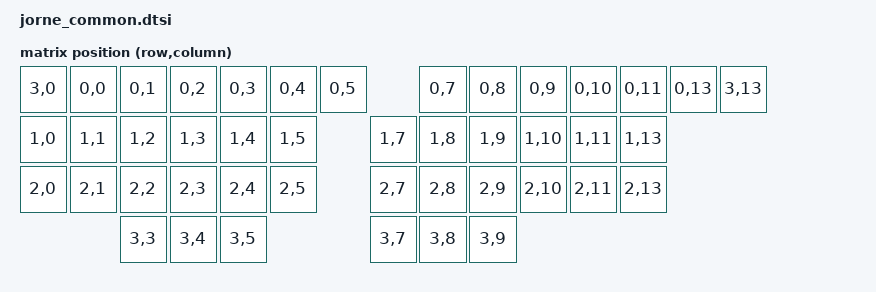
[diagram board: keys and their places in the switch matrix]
/*
 * ------------------------------------------------------------------
 * Файл:      jorne_common.dtsi
 * Версия:    5.0
 * Автор:     Evgeniy Moskovkin
 * Описание:  Общий matrix-transform и physical-layout (для ZMK Studio).
 *            v4.0 — левая половина полностью подтверждена логами.
 *            v5.0 — правая половина проверена логом: исправлены внешние
 *            клавиши '/\ и большие пальцы (см. комментарий у map ниже).
 * ------------------------------------------------------------------
 */

#include <dt-bindings/zmk/matrix_transform.h>
#include <physical_layouts.dtsi>

/ {
    default_transform: matrix_transform {
        compatible = "zmk,matrix-transform";
        columns = <14>;
        rows = <4>;

        // ------------------------------------------------------------------
        // 2026-09-03 (Evgeniy Moskovkin): transform ЛЕВОЙ половины исправлен
        // по реальному USB-логу kscan_matrix_read. ВСЕ 22 клавиши левой
        // половины подтверждены построчно:
        //   ряд 0:  `=(0,0) Q=(0,1) W=(0,2) E=(0,3) R=(0,4) T=(0,5)
        //   ряд 1:  Ctrl=(1,0) A=(1,1) S=(1,2) D=(1,3) F=(1,4) G=(1,5)
        //   ряд 2:  Alt=(2,0) Z=(2,1) X=(2,2) C=(2,3) V=(2,4) B=(2,5)
        //   ряд 3:  Win=(3,0)      Tab=(3,3) Space=(3,4) Enter=(3,5)
        //
        // Итого от ОРИГИНАЛА (v2.0) реально изменились только две вещи:
        //   1. Win:            RC(0,6)              -> RC(3,0)
        //   2. Левые пальцы:   RC(3,0)/(3,1)/(3,2)  -> RC(3,3)/(3,4)/(3,5)
        // Ряды 1 и 2 в оригинале были ВЕРНЫ (внешняя колонка Ctrl/Alt в
        // начале своего ряда, буквы за ней по столбцам 1..5) — промежуточная
        // версия v3.0 их зря ломала, здесь они возвращены.
        //
        // 2026-09-03 — правая половина ПОЛНОСТЬЮ проверена логами. Реальная
        // электрическая карта (локальные row,col; главный блок использует
        // столбцы 0-4 и 6, столбец 5 НЕ используется):
        //   ряд 0:  Y=(0,0) U=(0,1) I=(0,2) O=(0,3) P=(0,4)  [=(0,6)
        //   ряд 1:  H=(1,0) J=(1,1) K=(1,2) L=(1,3) ;=(1,4)  '=(1,6)
        //   ряд 2:  N=(2,0) M=(2,1) ,=(2,2) .=(2,3) /=(2,4)  \=(2,6)
        //   пальцы: Esc=(3,0) Bspc=(3,1) Del=(3,2)
        //   Win:    отдельная клавиша RWIN/]/F12/Reset = (3,6) — зеркальная
        //           пара левой Win в (3,0). Именно её пользователь обвёл на
        //           фото красным овалом.
        // Правки правой части карты (с учётом col-offset=7):
        //   - [ (поз.12) сидит в лок. столбце 6 -> RC(0,12)->RC(0,13);
        //   - Win (поз.13) сидит в (3,6) -> RC(0,13)->RC(3,13);
        //   - ' (поз.25) и \ (поз.37) в столбце 6 -> RC(1,12)->RC(1,13),
        //     RC(2,12)->RC(2,13);
        //   - большие пальцы остаются RC(3,7)/(3,8)/(3,9) (лок. 0,1,2).
        // Итог: раскладка остаётся 44-клавишной, лишних позиций не добавляли.
        // Пин строки пальцев исправлен в jorne_right.overlay (D8 -> D7).
        // Столбец 5 правой половины (P0.10, NFC) по факту НЕ используется —
        // опция CONFIG_NFCT_PINS_AS_GPIOS в jorne_right.conf теперь не нужна,
        // но оставлена как безвредная страховка.
        // ------------------------------------------------------------------
        map = <
        RC(3,0) RC(0,0) RC(0,1) RC(0,2) RC(0,3) RC(0,4) RC(0,5)    RC(0,7) RC(0,8) RC(0,9) RC(0,10) RC(0,11) RC(0,13) RC(3,13)
                RC(1,0) RC(1,1) RC(1,2) RC(1,3) RC(1,4) RC(1,5)    RC(1,7) RC(1,8) RC(1,9) RC(1,10) RC(1,11) RC(1,13)
                RC(2,0) RC(2,1) RC(2,2) RC(2,3) RC(2,4) RC(2,5)    RC(2,7) RC(2,8) RC(2,9) RC(2,10) RC(2,11) RC(2,13)
                                        RC(3,3) RC(3,4) RC(3,5)    RC(3,7) RC(3,8) RC(3,9)
        >;
    };

    physical_layout0: physical_layout_0 {
        compatible = "zmk,physical-layout";
        display-name = "Jorne 44-key";
        transform = <&default_transform>;

        keys
        = <&key_physical_attrs 100 100    0    0 0 0 0>
        , <&key_physical_attrs 100 100  100    0 0 0 0>
        , <&key_physical_attrs 100 100  200    0 0 0 0>
        , <&key_physical_attrs 100 100  300    0 0 0 0>
        , <&key_physical_attrs 100 100  400    0 0 0 0>
        , <&key_physical_attrs 100 100  500    0 0 0 0>
        , <&key_physical_attrs 100 100  600    0 0 0 0>
        , <&key_physical_attrs 100 100  800    0 0 0 0>
        , <&key_physical_attrs 100 100  900    0 0 0 0>
        , <&key_physical_attrs 100 100 1000    0 0 0 0>
        , <&key_physical_attrs 100 100 1100    0 0 0 0>
        , <&key_physical_attrs 100 100 1200    0 0 0 0>
        , <&key_physical_attrs 100 100 1300    0 0 0 0>
        , <&key_physical_attrs 100 100 1400    0 0 0 0>

        , <&key_physical_attrs 100 100    0  100 0 0 0>
        , <&key_physical_attrs 100 100  100  100 0 0 0>
        , <&key_physical_attrs 100 100  200  100 0 0 0>
        , <&key_physical_attrs 100 100  300  100 0 0 0>
        , <&key_physical_attrs 100 100  400  100 0 0 0>
        , <&key_physical_attrs 100 100  500  100 0 0 0>
        , <&key_physical_attrs 100 100  700  100 0 0 0>
        , <&key_physical_attrs 100 100  800  100 0 0 0>
        , <&key_physical_attrs 100 100  900  100 0 0 0>
        , <&key_physical_attrs 100 100 1000  100 0 0 0>
        , <&key_physical_attrs 100 100 1100  100 0 0 0>
        , <&key_physical_attrs 100 100 1200  100 0 0 0>

        , <&key_physical_attrs 100 100    0  200 0 0 0>
        , <&key_physical_attrs 100 100  100  200 0 0 0>
        , <&key_physical_attrs 100 100  200  200 0 0 0>
        , <&key_physical_attrs 100 100  300  200 0 0 0>
        , <&key_physical_attrs 100 100  400  200 0 0 0>
        , <&key_physical_attrs 100 100  500  200 0 0 0>
        , <&key_physical_attrs 100 100  700  200 0 0 0>
        , <&key_physical_attrs 100 100  800  200 0 0 0>
        , <&key_physical_attrs 100 100  900  200 0 0 0>
        , <&key_physical_attrs 100 100 1000  200 0 0 0>
        , <&key_physical_attrs 100 100 1100  200 0 0 0>
        , <&key_physical_attrs 100 100 1200  200 0 0 0>

        , <&key_physical_attrs 100 100  200  300 0 0 0>
        , <&key_physical_attrs 100 100  300  300 0 0 0>
        , <&key_physical_attrs 100 100  400  300 0 0 0>
        , <&key_physical_attrs 100 100  700  300 0 0 0>
        , <&key_physical_attrs 100 100  800  300 0 0 0>
        , <&key_physical_attrs 100 100  900  300 0 0 0>
        ;
    };
};
